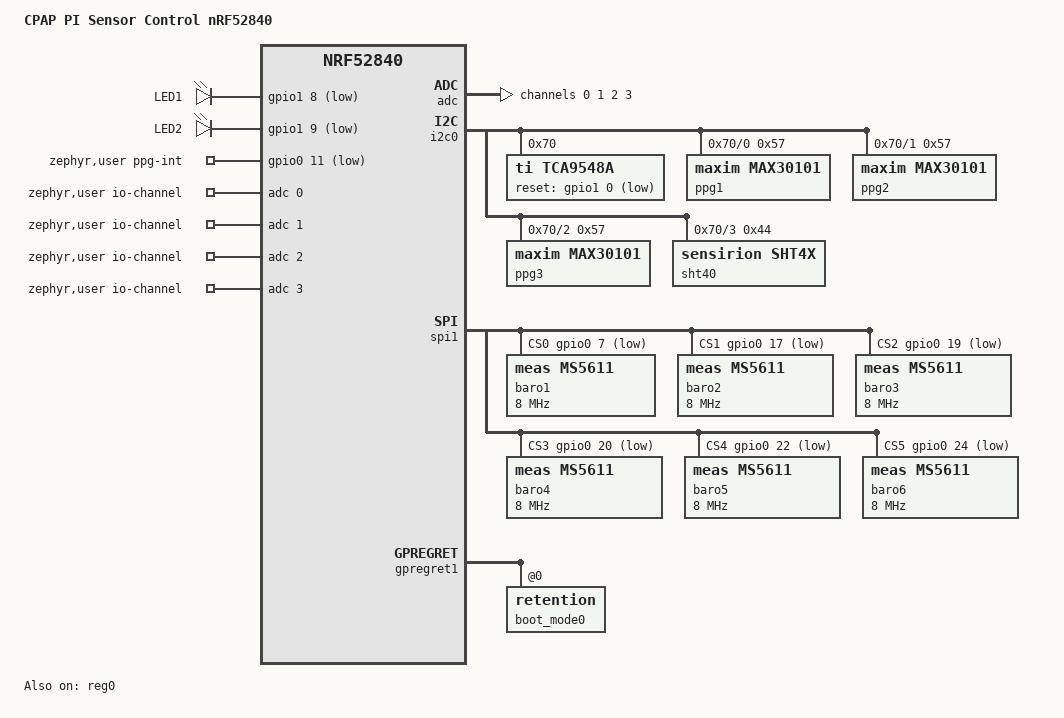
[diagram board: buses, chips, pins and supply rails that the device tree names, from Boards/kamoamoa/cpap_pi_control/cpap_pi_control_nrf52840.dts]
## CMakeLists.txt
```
cmake_minimum_required(VERSION 3.20.0)
find_package(Zephyr REQUIRED HINTS $ENV{ZEPHYR_BASE})

project(CPAP_PI_firmware)

target_include_directories(app PRIVATE 
    src
    src/arduino_compat
    src/sensors/max30101/EmotiBit_MAX30101/src
    src/sensors/sht40/MR01Right_SHT40/src
    src/sensors/ms5611
    src/sensors/ms5611/libdriver_ms5611/src
    src/sensors/ms5611/libdriver_ms5611/interface
    src/sensors/ms5611/libdriver_ms5611/example
)

target_sources(app PRIVATE 
    src/main.c
    src/arduino_compat/Wire.cpp
    src/sensors/mux_init.c
    src/sensors/sensor_manager.c
    src/sensors/max30101/max30101_reader.cpp
    src/sensors/max30101/EmotiBit_MAX30101/src/MAX30105.cpp
    src/sensors/sht40/sht40_reader.cpp
    src/sensors/sht40/MR01Right_SHT40/src/SHT40.cpp
    src/sensors/ess102/ess102_reader.c
    src/sensors/ms5611/libdriver_ms5611/src/driver_ms5611.c
    src/sensors/ms5611/libdriver_ms5611/example/driver_ms5611_basic.c
    src/sensors/ms5611/driver_ms5611_interface.c
    src/sensors/ms5611/ms5611_reader.c
    src/comm/comm_manager.c
    src/comm/ble_manager.c
)

target_compile_definitions(app PRIVATE ARDUINO=100)
```

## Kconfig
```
source "Kconfig.zephyr"

config MYFUNC
    bool "Enable my function"
    default n
```

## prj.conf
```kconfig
CONFIG_PRINTK=y
CONFIG_LOG=y

CONFIG_I2C=y
CONFIG_ADC=y

# TCA9548A mux: channel buses must init after the root mux, which must
# init after the underlying I2C controller (I2C_INIT_PRIORITY = 50)
CONFIG_I2C_TCA954X_ROOT_INIT_PRIO=60
CONFIG_I2C_TCA954X_CHANNEL_INIT_PRIO=70

# In-tree sensor drivers: MAX30101 x3 (configures mode + LED currents at
# init -> LEDs light up) and SHT4x. Sensor devices must init after the
# mux channel buses (prio 70).
CONFIG_SENSOR=y
CONFIG_SENSOR_INIT_PRIORITY=80
CONFIG_MAX30101=y
CONFIG_SHT4X=y

CONFIG_MYFUNC=n



# BLE — peripheral, Nordic UART Service (NUS) sensor stream
CONFIG_BT=y
CONFIG_BT_PERIPHERAL=y
CONFIG_BT_DEVICE_NAME="CPAP_PI_Control"
CONFIG_BT_MAX_CONN=1
CONFIG_BT_MAX_PAIRED=1
CONFIG_BT_NUS=y

# Throughput: DLE 251 + MTU 247 so a 176 B DATA frame fits one
# notification (see src/comm/comm_protocol.h and README BLE budget)
CONFIG_BT_BUF_ACL_TX_SIZE=251
CONFIG_BT_BUF_ACL_RX_SIZE=251
CONFIG_BT_L2CAP_TX_MTU=247
CONFIG_BT_CTLR_DATA_LENGTH_MAX=251
CONFIG_BT_DATA_LEN_UPDATE=y
CONFIG_BT_AUTO_DATA_LEN_UPDATE=y
CONFIG_BT_BUF_ACL_TX_COUNT=10
CONFIG_BT_BUF_EVT_RX_COUNT=20
CONFIG_BT_CONN_TX_MAX=10
CONFIG_BT_GAP_AUTO_UPDATE_CONN_PARAMS=y

# Increase stacks for BLE workqueue traffic
CONFIG_BT_RX_STACK_SIZE=2048
CONFIG_SYSTEM_WORKQUEUE_STACK_SIZE=2048
```

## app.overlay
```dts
/* CPAP PI Firmware DeviceTree Overlay (Phase 1: MAX30101) */

&pinctrl {
	i2c0_default: i2c0_default {
		group1 {
			psels = <NRF_PSEL(TWIM_SDA, 0, 27)>,
				<NRF_PSEL(TWIM_SCL, 0, 26)>;
			bias-pull-up;
		};
	};
	i2c0_sleep: i2c0_sleep {
		group1 {
			psels = <NRF_PSEL(TWIM_SDA, 0, 27)>,
				<NRF_PSEL(TWIM_SCL, 0, 26)>;
			low-power-enable;
			bias-pull-up;
		};
	};

	/* Override default UART0 pins to free P0.05 (RTS) for ADC use */
	uart0_default: uart0_default {
		group1 {
			psels = <NRF_PSEL(UART_TX, 0, 6)>;
		};
		group2 {
			psels = <NRF_PSEL(UART_RX, 0, 8)>;
			bias-pull-up;
		};
	};

	uart0_sleep: uart0_sleep {
		group1 {
			psels = <NRF_PSEL(UART_RX, 0, 8)>;
			low-power-enable;
		};
		group2 {
			psels = <NRF_PSEL(UART_TX, 0, 6)>;
			low-power-enable;
			bias-pull-up;
		};
	};
};

&i2c0 {
	status = "okay";
	pinctrl-0 = <&i2c0_default>;
	pinctrl-1 = <&i2c0_sleep>;
	pinctrl-names = "default", "sleep";

	tca9548a: tca9548a@70 {
		compatible = "ti,tca9548a";
		reg = <0x70>;
		reset-gpios = <&gpio0 2 GPIO_ACTIVE_LOW>;
		#address-cells = <1>;
		#size-cells = <0>;

		mux_i2c0: i2c-mux-channel@0 {
			compatible = "ti,tca9548a-channel";
			reg = <0>;
			#address-cells = <1>;
			#size-cells = <0>;

			max30101: max30101@57 {
				compatible = "emotibit,max30101";
				reg = <0x57>;
				irq-gpios = <&gpio1 13 (GPIO_ACTIVE_LOW | GPIO_PULL_UP)>;
			};
		};

		mux_i2c1: i2c-mux-channel@1 {
			compatible = "ti,tca9548a-channel";
			reg = <1>;
			#address-cells = <1>;
			#size-cells = <0>;

			sht40: sht40@44 {
				compatible = "arduino,sht40";
				reg = <0x44>;
			};
		};
	};
};

/ {
	zephyr,user {
		/* MUX Address pins */
		mux-a0-gpios = <&gpio1 11 GPIO_ACTIVE_HIGH>;
		mux-a1-gpios = <&gpio1 15 GPIO_ACTIVE_HIGH>;
		mux-a2-gpios = <&gpio1 14 GPIO_ACTIVE_HIGH>;
		
		/* Expose ADC channels for easy access */
		io-channels = <&adc 0>, <&adc 1>;
	};
};

&adc {
	status = "okay";
	#address-cells = <1>;
	#size-cells = <0>;

	channel@0 {
		reg = <0>;
		zephyr,gain = "ADC_GAIN_1_6";
		zephyr,reference = "ADC_REF_INTERNAL";
		zephyr,acquisition-time = <ADC_ACQ_TIME_DEFAULT>;
		zephyr,input-positive = <NRF_SAADC_AIN1>; /* P0.03 - Buffered Vref */
		zephyr,resolution = <12>;
	};

	channel@1 {
		reg = <1>;
		zephyr,gain = "ADC_GAIN_1_6";
		zephyr,reference = "ADC_REF_INTERNAL";
		zephyr,acquisition-time = <ADC_ACQ_TIME_DEFAULT>;
		zephyr,input-positive = <NRF_SAADC_AIN3>; /* P0.05 - TIA Output (Vout) */
		zephyr,resolution = <12>;
	};
};
```

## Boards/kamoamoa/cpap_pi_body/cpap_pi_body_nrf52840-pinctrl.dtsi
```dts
&pinctrl {
	i2c0_default: i2c0_default {
		group1 {
			psels = <NRF_PSEL(TWIM_SDA, 0, 8)>,
				    <NRF_PSEL(TWIM_SCL, 0, 12)>;
		};
	};

	i2c0_sleep: i2c0_sleep {
		group1 {
			psels = <NRF_PSEL(TWIM_SDA, 0, 8)>,
				    <NRF_PSEL(TWIM_SCL, 0, 12)>;
			low-power-enable;
		};
	};

	spi1_default: spi1_default {
		group1 {
			psels = <NRF_PSEL(SPIM_SCK, 0, 13)>,
				    <NRF_PSEL(SPIM_MOSI, 0, 14)>,
				    <NRF_PSEL(SPIM_MISO, 0, 21)>;
		};
	};

	spi1_sleep: spi1_sleep {
		group1 {
			psels = <NRF_PSEL(SPIM_SCK, 0, 13)>,
				    <NRF_PSEL(SPIM_MOSI, 0, 14)>,
				    <NRF_PSEL(SPIM_MISO, 0, 21)>;
			low-power-enable;
		};
	};
};
```

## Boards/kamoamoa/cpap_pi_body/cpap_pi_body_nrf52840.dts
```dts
/*
 * CPAP PI Sensor Body board — Raytac MDBT50Q-P1M module (nRF52840)
 *
 * SPDX-License-Identifier: Apache-2.0
 */

/dts-v1/;
#include <nordic/nrf52840_qiaa.dtsi>
#include <nordic/nrf52840_partition.dtsi>
#include "cpap_pi_body_nrf52840-pinctrl.dtsi"

/ {
	model = "CPAP PI Sensor Body nRF52840";
	compatible = "kamoamoa,cpap-pi-body-nrf52840";

	chosen {
		zephyr,boot-mode = &boot_mode0;
	};

	leds {
		compatible = "gpio-leds";

		led0: led_0 {
			gpios = <&gpio1 8 GPIO_ACTIVE_LOW>;
			label = "LED1";
		};

		led1: led_1 {
			gpios = <&gpio1 9 GPIO_ACTIVE_LOW>;
			label = "LED2";
		};
	};

	zephyr,user {
		/* TCA9548A I2C mux reset — active low */
		tca-reset-gpios = <&gpio1 0 GPIO_ACTIVE_LOW>;
		/* PPG sensor interrupt (shared, via 30-pin FPC) */
		ppg-int-gpios = <&gpio0 11 GPIO_ACTIVE_LOW>;
	};

	aliases {
		led0 = &led0;
		led1 = &led1;
		watchdog0 = &wdt0;
	};
};

&adc {
	status = "okay";
};

&uicr {
	gpio-as-nreset;
};

&gpiote {
	status = "okay";
};

&gpio0 {
	status = "okay";
	gpio-line-names = "XL1", "XL2", "FF1/AIN0", "FF2/AIN1", "FF3/AIN2",
			  "VREF/AIN3", "", "CS1", "SDA", "NFC1", "NFC2", "PPG_INT",
			  "SCL", "SPI_SCK", "SPI_MOSI", "", "", "CS2", "RESET",
			  "CS3", "CS4", "SPI_MISO", "CS5", "", "CS6", "", "", "",
			  "", "", "", "";
};

&gpio1 {
	status = "okay";
	gpio-line-names = "TCA_RST", "", "", "", "", "", "", "",
			  "LED1", "LED2", "", "", "", "", "", "";
};

/* TCA9548A I2C mux @0x70 (A0=A1=A2=GND) — PPG1-3 on ch0-2, T/H on ch3 */
&i2c0 {
	status = "okay";
	pinctrl-0 = <&i2c0_default>;
	pinctrl-1 = <&i2c0_sleep>;
	pinctrl-names = "default", "sleep";
};

/* Off-board SPI devices via 30-pin FPC, six chip-selects */
&spi1 {
	status = "okay";
	pinctrl-0 = <&spi1_default>;
	pinctrl-1 = <&spi1_sleep>;
	pinctrl-names = "default", "sleep";
	cs-gpios = <&gpio0 7 GPIO_ACTIVE_LOW>,   /* CS1 */
		   <&gpio0 17 GPIO_ACTIVE_LOW>,  /* CS2 */
		   <&gpio0 19 GPIO_ACTIVE_LOW>,  /* CS3 */
		   <&gpio0 20 GPIO_ACTIVE_LOW>,  /* CS4 */
		   <&gpio0 22 GPIO_ACTIVE_LOW>,  /* CS5 */
		   <&gpio0 24 GPIO_ACTIVE_LOW>;  /* CS6 */
};

&gpregret1 {
	status = "okay";

	boot_mode0: boot_mode@0 {
		compatible = "zephyr,retention";
		status = "okay";
		reg = <0x0 0x1>;
	};
};
```

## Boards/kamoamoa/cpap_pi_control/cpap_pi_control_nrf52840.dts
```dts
/*
 * CPAP PI Sensor Control board — Raytac MDBT50Q-P1M module (nRF52840)
 *
 * SPDX-License-Identifier: Apache-2.0
 */

/dts-v1/;
#include <nordic/nrf52840_qiaa.dtsi>
#include <nordic/nrf52840_partition.dtsi>
#include <zephyr/dt-bindings/adc/adc.h>
#include <zephyr/dt-bindings/adc/nrf-saadc.h>
#include "cpap_pi_control_nrf52840-pinctrl.dtsi"

/ {
	model = "CPAP PI Sensor Control nRF52840";
	compatible = "kamoamoa,cpap-pi-control-nrf52840";

	chosen {
		zephyr,boot-mode = &boot_mode0;
	};

	leds {
		compatible = "gpio-leds";

		led0: led_0 {
			gpios = <&gpio1 8 GPIO_ACTIVE_LOW>;
			label = "LED1";
		};

		led1: led_1 {
			gpios = <&gpio1 9 GPIO_ACTIVE_LOW>;
			label = "LED2";
		};
	};

	zephyr,user {
		/* PPG sensor interrupt (shared by all 3 MAX30101, external
		 * 10k pull-up to DVDD, via 30-pin FPC)
		 */
		ppg-int-gpios = <&gpio0 11 GPIO_ACTIVE_LOW>;
		/* FSR analog front-end: FF1-FF3 TIA outputs + buffered VREF */
		io-channels = <&adc 0>, <&adc 1>, <&adc 2>, <&adc 3>;
	};

	aliases {
		led0 = &led0;
		led1 = &led1;
		watchdog0 = &wdt0;
	};
};

/* High-voltage mode: VDDH = DVDD = 3.3 V, REG0 supplies VDD/GPIO.
 * L4 (REG0 DCDC inductor) is unpopulated — REG0 stays in LDO mode.
 * board.c programs UICR REGOUT0 = 3V3 on first boot after an erase.
 */
&reg0 {
	status = "okay";
};

&adc {
	status = "okay";
	#address-cells = <1>;
	#size-cells = <0>;

	/* 12-bit, gain 1/6, 0.6 V internal ref -> 3.6 V full scale */
	channel@0 {
		reg = <0>;
		zephyr,gain = "ADC_GAIN_1_6";
		zephyr,reference = "ADC_REF_INTERNAL";
		zephyr,acquisition-time = <ADC_ACQ_TIME_DEFAULT>;
		zephyr,input-positive = <NRF_SAADC_AIN0>; /* P0.02 - FF1 */
		zephyr,resolution = <12>;
	};

	channel@1 {
		reg = <1>;
		zephyr,gain = "ADC_GAIN_1_6";
		zephyr,reference = "ADC_REF_INTERNAL";
		zephyr,acquisition-time = <ADC_ACQ_TIME_DEFAULT>;
		zephyr,input-positive = <NRF_SAADC_AIN1>; /* P0.03 - FF2 */
		zephyr,resolution = <12>;
	};

	channel@2 {
		reg = <2>;
		zephyr,gain = "ADC_GAIN_1_6";
		zephyr,reference = "ADC_REF_INTERNAL";
		zephyr,acquisition-time = <ADC_ACQ_TIME_DEFAULT>;
		zephyr,input-positive = <NRF_SAADC_AIN2>; /* P0.04 - FF3 */
		zephyr,resolution = <12>;
	};

	channel@3 {
		reg = <3>;
		zephyr,gain = "ADC_GAIN_1_6";
		zephyr,reference = "ADC_REF_INTERNAL";
		zephyr,acquisition-time = <ADC_ACQ_TIME_DEFAULT>;
		zephyr,input-positive = <NRF_SAADC_AIN3>; /* P0.05 - VREF */
		zephyr,resolution = <12>;
	};
};

&uicr {
	gpio-as-nreset;
};

&gpiote {
	status = "okay";
};

&gpio0 {
	status = "okay";
	gpio-line-names = "XL1", "XL2", "FF1/AIN0", "FF2/AIN1", "FF3/AIN2",
			  "VREF/AIN3", "", "CS1", "SDA", "NFC1", "NFC2", "PPG_INT",
			  "SCL", "SPI_SCK", "SPI_MOSI", "", "", "CS2", "RESET",
			  "CS3", "CS4", "SPI_MISO", "CS5", "", "CS6", "", "", "",
			  "", "", "", "";
};

&gpio1 {
	status = "okay";
	gpio-line-names = "TCA_RST", "", "", "", "", "", "", "",
			  "LED1", "LED2", "", "", "", "", "", "";
};

/* TCA9548A I2C mux @0x70 (A0=A1=A2=GND) — PPG1-3 on ch0-2, T/H on ch3.
 * Sensors live on the mask flex PCB, reached via the 30-pin FPC.
 * Bus pull-ups (4.7k to DVDD) are on the control board, up- and downstream.
 */
&i2c0 {
	status = "okay";
	pinctrl-0 = <&i2c0_default>;
	pinctrl-1 = <&i2c0_sleep>;
	pinctrl-names = "default", "sleep";

	tca9548a: tca9548a@70 {
		compatible = "ti,tca9548a";
		reg = <0x70>;
		status = "okay";
		#address-cells = <1>;
		#size-cells = <0>;
		reset-gpios = <&gpio1 0 GPIO_ACTIVE_LOW>;

		mux_i2c0: mux_i2c@0 {
			compatible = "ti,tca9548a-channel";
			reg = <0>;
			#address-cells = <1>;
			#size-cells = <0>;

			ppg1: max30101@57 {
				compatible = "maxim,max30101";
				reg = <0x57>;
				/* Rate budget: 3 LEDs, 100 Hz, 18-bit (411 us) */
				acq-mode = "multi-led";
				led-slot = <1 2 3 0>; /* R, IR, G */
				smp-sr = <100>;
				led-pw = <411>;
				fifo-rollover-en;
				/* Red/IR reflect strongly off tissue — 51 mA (default)
				 * saturates the ADC with a finger on the sensor. Green
				 * is absorbed by hemoglobin and needs more drive.
				 * 0.2 mA/LSB: R/IR = 6.2 mA, G = 25.4 mA.
				 */
				led-pa = [1f 1f 7f];
				adc-rge = <16384>;
			};
		};

		mux_i2c1: mux_i2c@1 {
			compatible = "ti,tca9548a-channel";
			reg = <1>;
			#address-cells = <1>;
			#size-cells = <0>;

			ppg2: max30101@57 {
				compatible = "maxim,max30101";
				reg = <0x57>;
				/* Rate budget: 3 LEDs, 100 Hz, 18-bit (411 us) */
				acq-mode = "multi-led";
				led-slot = <1 2 3 0>; /* R, IR, G */
				smp-sr = <100>;
				led-pw = <411>;
				fifo-rollover-en;
				/* Red/IR reflect strongly off tissue — 51 mA (default)
				 * saturates the ADC with a finger on the sensor. Green
				 * is absorbed by hemoglobin and needs more drive.
				 * 0.2 mA/LSB: R/IR = 6.2 mA, G = 25.4 mA.
				 */
				led-pa = [1f 1f 7f];
				adc-rge = <16384>;
			};
		};

		mux_i2c2: mux_i2c@2 {
			compatible = "ti,tca9548a-channel";
			reg = <2>;
			#address-cells = <1>;
			#size-cells = <0>;

			ppg3: max30101@57 {
				compatible = "maxim,max30101";
				reg = <0x57>;
				/* Rate budget: 3 LEDs, 100 Hz, 18-bit (411 us) */
				acq-mode = "multi-led";
				led-slot = <1 2 3 0>; /* R, IR, G */
				smp-sr = <100>;
				led-pw = <411>;
				fifo-rollover-en;
				/* Red/IR reflect strongly off tissue — 51 mA (default)
				 * saturates the ADC with a finger on the sensor. Green
				 * is absorbed by hemoglobin and needs more drive.
				 * 0.2 mA/LSB: R/IR = 6.2 mA, G = 25.4 mA.
				 */
				led-pa = [1f 1f 7f];
				adc-rge = <16384>;
			};
		};

		mux_i2c3: mux_i2c@3 {
			compatible = "ti,tca9548a-channel";
			reg = <3>;
			#address-cells = <1>;
			#size-cells = <0>;

			sht40: sht4x@44 {
				compatible = "sensirion,sht4x";
				reg = <0x44>;
				repeatability = <2>;
			};
		};
	};
};

/* Six MS5611 barometers on the mask flex PCB (PS = GND -> SPI mode),
 * one per chip-select, all sharing SCLK/SDI/SDO via the 30-pin FPC.
 */
&spi1 {
	status = "okay";
	pinctrl-0 = <&spi1_default>;
	pinctrl-1 = <&spi1_sleep>;
	pinctrl-names = "default", "sleep";
	cs-gpios = <&gpio0 7 GPIO_ACTIVE_LOW>,   /* CS1 */
		   <&gpio0 17 GPIO_ACTIVE_LOW>,  /* CS2 */
		   <&gpio0 19 GPIO_ACTIVE_LOW>,  /* CS3 */
		   <&gpio0 20 GPIO_ACTIVE_LOW>,  /* CS4 */
		   <&gpio0 22 GPIO_ACTIVE_LOW>,  /* CS5 */
		   <&gpio0 24 GPIO_ACTIVE_LOW>;  /* CS6 */

	baro1: ms5611@0 {
		compatible = "meas,ms5611";
		reg = <0>;
		spi-max-frequency = <8000000>;
	};

	baro2: ms5611@1 {
		compatible = "meas,ms5611";
		reg = <1>;
		spi-max-frequency = <8000000>;
	};

	baro3: ms5611@2 {
		compatible = "meas,ms5611";
		reg = <2>;
		spi-max-frequency = <8000000>;
	};

	baro4: ms5611@3 {
		compatible = "meas,ms5611";
		reg = <3>;
		spi-max-frequency = <8000000>;
	};

	baro5: ms5611@4 {
		compatible = "meas,ms5611";
		reg = <4>;
		spi-max-frequency = <8000000>;
	};

	baro6: ms5611@5 {
		compatible = "meas,ms5611";
		reg = <5>;
		spi-max-frequency = <8000000>;
	};
};

&gpregret1 {
	status = "okay";

	boot_mode0: boot_mode@0 {
		compatible = "zephyr,retention";
		status = "okay";
		reg = <0x0 0x1>;
	};
};
```

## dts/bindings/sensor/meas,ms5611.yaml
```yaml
# Project-local binding for the TE MS5611-01BA03 pressure sensor (SPI mode).
# Protocol-compatible with the in-tree meas,ms5607; the compensation math
# differs (handled by the project driver).
#
# SPDX-License-Identifier: Apache-2.0

description: |
    TE Connectivity MS5611 digital pressure and temperature sensor (SPI).

compatible: "meas,ms5611"

include: [sensor-device.yaml, spi-device.yaml]
```

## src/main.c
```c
/*
 * CPAP PI Sensor Control — PPG + FSR + Pressure Sensing Firmware
 * Custom nRF52840 board (cpap_pi_control/nrf52840, Raytac MDBT50Q-P1M)
 */

#include <zephyr/kernel.h>
#include <zephyr/sys/printk.h>
#include <zephyr/logging/log.h>

#include "drivers/bus_diag.h"
#include "drivers/driver_led.h"
#include "sensors/sensor_manager.h"
#include "comm/comm_manager.h"

LOG_MODULE_REGISTER(cpap_pi_main, LOG_LEVEL_DBG);

int main(void)
{
    printk("\n=== CPAP PI Sensor Control Boot ===\n");

    /* Status LEDs (LED1 = P1.08, LED2 = P1.09, active low) */
    if (drv_led_init() < 0) {
        LOG_ERR("Failed to init LEDs");
    }

    /* Bring-up diagnostics: TCA9548A channels and MS5611 PROM CRCs */
    int i2c_ok = bus_diag_scan_mux();
    int baro_ok = bus_diag_ms5611_check();
    printk("Bus diag: %d/4 I2C sensors, %d/6 baros OK\n", i2c_ok, baro_ok);

    /* BLE NUS transport + binary frame stream for the web portal */
    if (comm_manager_init() < 0) {
        LOG_ERR("Failed to init comm layer");
    }

    /* Sampling thread: PPG + FSR 100 Hz, baro 25 Hz, SHT40 1 Hz */
    sensor_manager_start();

    while (1) {
        drv_led_toggle(LED_1);  /* heartbeat */
        k_msleep(500);
    }
}
```

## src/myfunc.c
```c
#include "myfunc.h"

int sum(int a, int b) {
    return a + b;
}
```

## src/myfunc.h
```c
#ifndef MYFUNC_H
#define MYFUNC_H
int sum(int a, int b);
#endif
```
